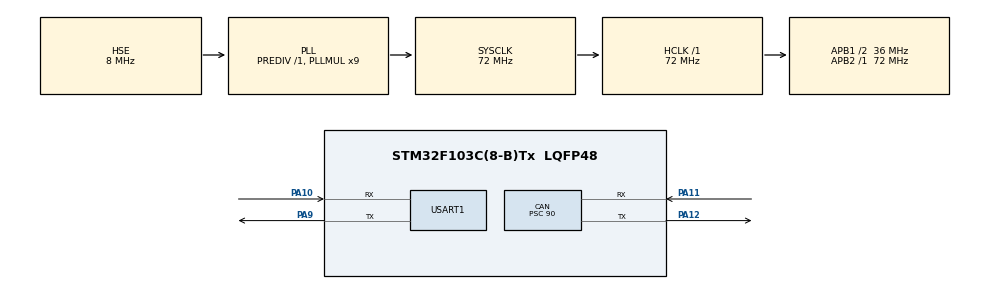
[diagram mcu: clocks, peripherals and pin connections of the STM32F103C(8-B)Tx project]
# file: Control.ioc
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CAN.BS1=CAN_BS1_13TQ
CAN.BS2=CAN_BS2_2TQ
CAN.CalculateTimeBit=40000
CAN.CalculateTimeQuantum=2500.0
CAN.Prescaler=90
Mcu.Family=STM32F1
Mcu.Name=STM32F103C(8-B)Tx
Mcu.Package=LQFP48
NVIC.PriorityGroup=NVIC_PRIORITYGROUP_4
NVIC.USART1_IRQn=true\:0\:0\:false\:false\:true\:true\:true
NVIC.USB_HP_CAN1_TX_IRQn=true\:0\:0\:false\:false\:true\:true\:true
NVIC.USB_LP_CAN1_RX0_IRQn=true\:0\:0\:false\:false\:true\:true\:true
PA10.Mode=Asynchronous
PA10.Signal=USART1_RX
PA11.Mode=Master
PA11.Signal=CAN_RX
PA12.Mode=Master
PA12.Signal=CAN_TX
PA13.Mode=Serial_Wire
PA13.Signal=SYS_JTMS-SWDIO
PA14.Mode=Serial_Wire
PA14.Signal=SYS_JTCK-SWCLK
PA9.Mode=Asynchronous
PA9.Signal=USART1_TX
PC14-OSC32_IN.Mode=LSE-External-Oscillator
PC14-OSC32_IN.Signal=RCC_OSC32_IN
PC15-OSC32_OUT.Mode=LSE-External-Oscillator
PC15-OSC32_OUT.Signal=RCC_OSC32_OUT
PD0-OSC_IN.Mode=HSE-External-Oscillator
PD0-OSC_IN.Signal=RCC_OSC_IN
PD1-OSC_OUT.Mode=HSE-External-Oscillator
PD1-OSC_OUT.Signal=RCC_OSC_OUT
ProjectManager.HeapSize=0x4000
ProjectManager.StackSize=0x500
ProjectManager.TargetToolchain=EWARM V8
RCC.AHBFreq_Value=72000000
RCC.APB1CLKDivider=RCC_HCLK_DIV2
RCC.APB1Freq_Value=36000000
RCC.APB1TimFreq_Value=72000000
RCC.APB2Freq_Value=72000000
RCC.APB2TimFreq_Value=72000000
RCC.HCLKFreq_Value=72000000
RCC.PLLMUL=RCC_PLL_MUL9
RCC.PLLSourceVirtual=RCC_PLLSOURCE_HSE
RCC.SYSCLKFreq_VALUE=72000000
RCC.SYSCLKSource=RCC_SYSCLKSOURCE_PLLCLK
RCC.USBFreq_Value=72000000
USART1.VirtualMode=VM_ASYNC
board=custom

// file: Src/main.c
/* USER CODE BEGIN Header */
/**
  ******************************************************************************
  * @file           : main.c
  * @brief          : Main program body
  ******************************************************************************
  * @attention
  *
  * <h2><center>&copy; Copyright (c) 2020 STMicroelectronics.
  * All rights reserved.</center></h2>
  *
  * This software component is licensed by ST under BSD 3-Clause license,
  * the "License"; You may not use this file except in compliance with the
  * License. You may obtain a copy of the License at:
  *                        opensource.org/licenses/BSD-3-Clause
  *
  ******************************************************************************
  */
/* USER CODE END Header */

#include "main.h"
#include "can.h"
#include "usart.h"
#include "gpio.h"

/* USER CODE BEGIN Includes */
#include <stdbool.h>
#include <stddef.h>
#include <stdlib.h>
#include <string.h>
#include "data_handler.h"
#include "gesture_model.h"
/* USER CODE END Includes */

/* USER CODE BEGIN PTD */

typedef struct{
  unsigned long time_delay_actions;
  uint32_t indexAction;
  uint32_t currentRepeat;
  GestureModel* current_command;
} StructInfoCurrentCommand;

/* USER CODE END PTD */

/* USER CODE BEGIN PD */

// System commands
#define CommandExex 0x17
#define CommandExexRaw 0x18

/* USER CODE END PD */

/* USER CODE BEGIN PV */

/* CAN BUS PV Variables */
CAN_FilterTypeDef sFilterConfig;
CAN_TxHeaderTypeDef TxHeader;
CAN_RxHeaderTypeDef RxHeader;
uint8_t TxData[8];
uint8_t RxData[8];
uint32_t TxMailbox;

// For receive
uint8_t dataRx;
StructPackageBuffer receivePackage;
StructPackageBuffer transmitPackage;

// Current command
StructInfoCurrentCommand currentCommand;

// Time system
uint32_t time_last_receive = 0;

/* USER CODE END PV */

void SystemClock_Config(void);

/* USER CODE BEGIN 0 */

void setCurrentCommand(GestureModel* new_current_command)
{
  currentCommand.current_command = new_current_command;
  currentCommand.indexAction = 0;
  currentCommand.time_delay_actions = 0;
  currentCommand.currentRepeat = 0;
}

void clearInfoCurrentCommand()
{
  currentCommand.current_command = NULL;
  currentCommand.indexAction = 0;
  currentCommand.time_delay_actions = 0;
  currentCommand.currentRepeat = 0;
}

void ClearCurrentCommand()
{
  if(currentCommand.current_command != NULL)
  {
    GestureModel_Destroy(currentCommand.current_command);
    clearInfoCurrentCommand();
  }
}

void RecognizePackage(StructPackage* recPackage)
{
  switch ( recPackage->package[0] )
  {
    case CommandExex:
    {
      ClearCurrentCommand();
      GestureModel* gesture = GestureModel_DeserializeGesture(&(recPackage->package[1]));
      setCurrentCommand(gesture);
      break;
    }

    case CommandExexRaw:
      {
        break;
      }
  }
}

/**
* @brief Выполняет необходимую программную иницилизацию CAN и
* переменных для работы с ней.
* @retval None
*/
void CAN_Init()
{
  sFilterConfig.FilterBank = 0;
  sFilterConfig.FilterMode = CAN_FILTERMODE_IDMASK;
  sFilterConfig.FilterScale = CAN_FILTERSCALE_32BIT;
  sFilterConfig.FilterIdHigh = 0X0000;
  sFilterConfig.FilterIdLow = 0x0000;
  sFilterConfig.FilterMaskIdHigh = 0x0000;
  sFilterConfig.FilterMaskIdLow = 0x0000;
  sFilterConfig.FilterFIFOAssignment = CAN_RX_FIFO0;
  sFilterConfig.FilterActivation = ENABLE;
  sFilterConfig.SlaveStartFilterBank = 14;

  if (HAL_CAN_ConfigFilter(&hcan, &sFilterConfig) != HAL_OK)
  {
    Error_Handler();
  }

  if (HAL_CAN_Start(&hcan) != HAL_OK)
  {
    Error_Handler();
  }

  if (HAL_CAN_ActivateNotification (&hcan, CAN_IT_RX_FIFO0_MSG_PENDING | CAN_IT_TX_MAILBOX_EMPTY) != HAL_OK)
  {
    Error_Handler();
  }

  TxHeader.StdId = 0x3E9;
  TxHeader.ExtId = 0x01;
  TxHeader.RTR = CAN_RTR_DATA;
  TxHeader.IDE = CAN_ID_STD;
  TxHeader.TransmitGlobalTime = DISABLE;
  TxHeader.DLC = 8;
  TxData[0] = 0;
  TxData[1] = 0;
  TxData[2] = 0;
  TxData[3] = 0;
  TxData[4] = 0;
  TxData[5] = 0;
  TxData[6] = 0;
  TxData[7] = 0;
}

void ExecMotion(MotionModel* motion)
{
  TxData[0] = motion->PointerFinger;
  TxData[1] = motion->MiddleFinger;
  TxData[2] = motion->RingFinder;
  TxData[3] = motion->LittleFinger;
  TxData[4] = motion->ThumbFinger;
  HAL_StatusTypeDef status =  HAL_CAN_AddTxMessage(&hcan, &TxHeader, TxData, &TxMailbox);
}
/* USER CODE END 0 */

int main(void)
{

  /* MCU Configuration--------------------------------------------------------*/

  /* Reset of all peripherals, Initializes the Flash interface and the Systick. */
  HAL_Init();

  /* Configure the system clock */
  SystemClock_Config();

  /* Initialize all configured peripherals */
  MX_GPIO_Init();
  MX_CAN_Init();
  MX_USART1_UART_Init();
  /* USER CODE BEGIN 2 */
  Create_Data_Receive();
  CreatePackageBuffer(&receivePackage);
  CreatePackageBuffer(&transmitPackage);
  SetPackageBuf(&receivePackage);
  clearInfoCurrentCommand();
  CAN_Init();

  HAL_UART_Receive_IT(&huart1, &dataRx, 1);

  // TODO: убрать.
//  StructPackage test;
//
//  test.countData = 64;
//  uint8_t array[64] = {0x17, 20, 121, 168, 146, 80, 155, 154, 73, 130, 116, 167,
//  175, 107, 229, 121, 75, 8, 208, 154, 208, 190, 208, 183, 208, 176, 18, 131, 48,
//  27, 31, 137, 215, 65, 1, 2, 3, 180, 0, 0, 180, 0, 0, 0, 244, 1, 2, 3, 4, 5, 1,
//  0, 0, 50, 0, 180, 0, 0, 180, 0, 0, 0, 244, 1};
//
//  test.package = array;
//  RecognizePackage(&test);
//  while(1);
  /* USER CODE END 2 */

  /* Infinite loop */
  /* USER CODE BEGIN WHILE */
  while (1)
  {
    if(PackageBufferCount(&receivePackage) > 0)
    {
      StructPackage* currentPackage = PackageBufGet(&receivePackage);
      RecognizePackage(currentPackage);
    }

    if(currentCommand.current_command != NULL)
    {
      unsigned long millis = HAL_GetTick();

      if(currentCommand.time_delay_actions<=millis)
        {
          MotionModel* action = (MotionModel*)(list_get(currentCommand.current_command->ListMotions, currentCommand.indexAction)->data);
          //(MotionModel*)currentCommand.current_command->ListMotions[currentCommand.indexAction];
          // set new action in timers
          // set finger
          ExecMotion(action);

          // check end command
          currentCommand.time_delay_actions = action->DelMotion + millis;
          currentCommand.indexAction++;

          if(currentCommand.current_command->InfoGesture.NumberOfMotions == currentCommand.indexAction)
          {
            if(currentCommand.current_command->InfoGesture.IterableGesture == true)
            {
              currentCommand.indexAction = 0;
            }
            else
            {
              if(currentCommand.current_command->InfoGesture.NumberOfGestureRepetitions - 1 > currentCommand.currentRepeat)
              {
                currentCommand.indexAction = 0;
                currentCommand.currentRepeat++;
              }
              else
              {
                ClearCurrentCommand();
              }
            }
          }
        }

    }

    /* USER CODE END WHILE */

  }
}

void SystemClock_Config(void)
{
  RCC_OscInitTypeDef RCC_OscInitStruct = {0};
  RCC_ClkInitTypeDef RCC_ClkInitStruct = {0};

  /** Initializes the CPU, AHB and APB busses clocks
  */
  RCC_OscInitStruct.OscillatorType = RCC_OSCILLATORTYPE_HSE;
  RCC_OscInitStruct.HSEState = RCC_HSE_ON;
  RCC_OscInitStruct.HSEPredivValue = RCC_HSE_PREDIV_DIV1;
  RCC_OscInitStruct.HSIState = RCC_HSI_ON;
  RCC_OscInitStruct.PLL.PLLState = RCC_PLL_ON;
  RCC_OscInitStruct.PLL.PLLSource = RCC_PLLSOURCE_HSE;
  RCC_OscInitStruct.PLL.PLLMUL = RCC_PLL_MUL9;
  if (HAL_RCC_OscConfig(&RCC_OscInitStruct) != HAL_OK)
  {
    Error_Handler();
  }
  /** Initializes the CPU, AHB and APB busses clocks
  */
  RCC_ClkInitStruct.ClockType = RCC_CLOCKTYPE_HCLK|RCC_CLOCKTYPE_SYSCLK
                              |RCC_CLOCKTYPE_PCLK1|RCC_CLOCKTYPE_PCLK2;
  RCC_ClkInitStruct.SYSCLKSource = RCC_SYSCLKSOURCE_PLLCLK;
  RCC_ClkInitStruct.AHBCLKDivider = RCC_SYSCLK_DIV1;
  RCC_ClkInitStruct.APB1CLKDivider = RCC_HCLK_DIV2;
  RCC_ClkInitStruct.APB2CLKDivider = RCC_HCLK_DIV1;

  if (HAL_RCC_ClockConfig(&RCC_ClkInitStruct, FLASH_LATENCY_2) != HAL_OK)
  {
    Error_Handler();
  }
}

/* USER CODE BEGIN 4 */
void HAL_UART_RxCpltCallback(UART_HandleTypeDef *huart)
{
  if (huart == &huart1)
  {
    uint32_t time = HAL_GetTick();
    if((time - time_last_receive) > 1000)
    {
      Clear_Data_Receive();
    }

    Append_Data_Receive(dataRx);
    time_last_receive = time;
    HAL_UART_Receive_IT(&huart1, &dataRx, 1);
  }
}
/* USER CODE END 4 */

void Error_Handler(void)
{
}

/************************ (C) COPYRIGHT STMicroelectronics *****END OF FILE****/
